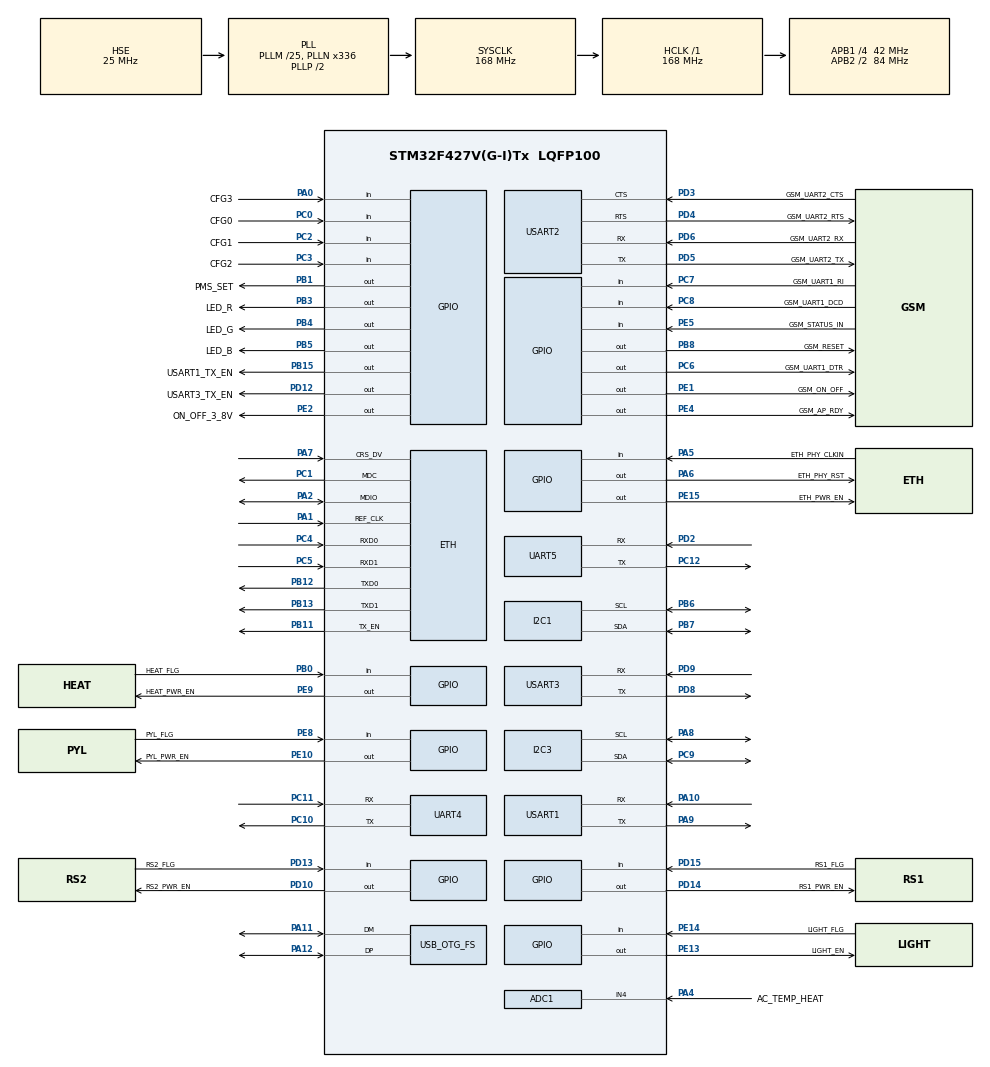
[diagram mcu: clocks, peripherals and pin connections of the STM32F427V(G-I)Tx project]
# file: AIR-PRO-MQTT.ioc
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PD12.GPIO_Label=USART3_TX_EN
PC12.Signal=UART5_TX
PC6.GPIO_Label=GSM_UART1_DTR
VP_RTC_VS_RTC_Activate.Mode=RTC_Enabled
PA6.GPIO_Label=ETH_PHY_RST
PC5.Mode=RMII
PB13.Signal=ETH_TXD1
PD6.GPIO_Label=GSM_UART2_RX
RCC.SYSCLKSource=RCC_SYSCLKSOURCE_PLLCLK
LWIP.NETMASK_ADDRESS=255.255.255.000
PD4.Signal=USART2_RTS
RCC.APB2TimFreq_Value=168000000
PB6.Signal=I2C1_SCL
Dma.ADC1.0.Direction=DMA_PERIPH_TO_MEMORY
PC7.Signal=GPIO_Input
PH1/OSC_OUT.Signal=RCC_OSC_OUT
PB6.Mode=I2C
PC3.Signal=GPIO_Input
PD8.Signal=USART3_TX
PE5.Signal=GPIO_Input
PE1.Signal=GPIO_Output
Dma.ADC1.0.MemDataAlignment=DMA_MDATAALIGN_HALFWORD
ADC1.ScanConvMode=ENABLE
LWIP.MEM_SIZE=8192
PE9.Signal=GPIO_Output
PB1.GPIO_Label=PMS_SET
Dma.ADC1.0.PeriphInc=DMA_PINC_DISABLE
PE4.GPIO_Label=GSM_AP_RDY
PC9.Mode=I2C
PE2.Signal=GPIO_Output
PA8.Signal=I2C3_SCL
VP_FREERTOS_VS_CMSIS_V1.Mode=CMSIS_V1
PD3.Mode=CTS_RTS
PE10.Signal=GPIO_Output
ADC1.SamplingTime-0\#ChannelRegularConversion=ADC_SAMPLETIME_3CYCLES
Mcu.Package=LQFP100
PB1.Signal=GPIO_Output
NVIC.TimeBase=TIM1_UP_TIM10_IRQn
PD12.Signal=GPIO_Output
NVIC.TimeBaseIP=TIM1
PA10.Signal=USART1_RX
PC11.Mode=Asynchronous
RCC.APB2CLKDivider=RCC_HCLK_DIV2
PD4.Mode=CTS_RTS
RCC.APB1TimFreq_Value=84000000
Dma.ADC1.0.FIFOMode=DMA_FIFOMODE_DISABLE
PB13.Mode=RMII
PE10.GPIO_Label=PYL_PWR_EN
PA4.GPIO_Label=AC_TEMP_HEAT
PD15.Signal=GPIO_Input
PC4.Mode=RMII
LWIP.IP_ADDRESS=192.168.254.193
Dma.ADC1.0.Instance=DMA2_Stream0
FREERTOS.Tasks01=defaultTask,0,128,StartDefaultTask,Default,NULL,Dynamic,NULL,NULL
ADC1.Rank-0\#ChannelRegularConversion=1
PD3.Signal=USART2_CTS
PC6.Signal=GPIO_Output
PC2.Signal=GPIO_Input
LWIP.LWIP_DHCP=1
UART5.VirtualMode=Asynchronous
PC0.Signal=GPIO_Input
RCC.APB1CLKDivider=RCC_HCLK_DIV4
UART4.VirtualMode=Asynchronous
PD6.Mode=Asynchronous
PD10.Signal=GPIO_Output
PB8.GPIO_Label=GSM_RESET
PB11.Mode=RMII
PE8.GPIO_Label=PYL_FLG
Dma.ADC1.0.Priority=DMA_PRIORITY_LOW
PA9.Signal=USART1_TX
PD8.Mode=Asynchronous
PE9.GPIO_Label=HEAT_PWR_EN
PB10.Signal=ETH_RX_ER
PA5.Signal=GPIO_Input
PD14.PinState=GPIO_PIN_SET
PC12.Mode=Asynchronous
PE1.GPIO_Label=GSM_ON_OFF
PA1.Mode=RMII
PE14.Signal=GPIO_Input
PE15.Signal=GPIO_Output
PB4.GPIO_Label=LED_G
PB15.GPIO_Label=USART1_TX_EN
PE8.Signal=GPIO_Input
PA0/WKUP.GPIO_Label=CFG3
RCC.RCC_RTC_Clock_SourceVirtual=RCC_RTCCLKSOURCE_LSE
SH.ADCx_IN4.0=ADC1_IN4,IN4
ADC1.DMAContinuousRequests=ENABLE
PA13.Mode=Serial_Wire
LWIP.CMSIS_VERSION-Enabled=1
ADC1.ExternalTrigConv=ADC_SOFTWARE_START
PC7.GPIO_Label=GSM_UART1_RI
PA4.Signal=ADCx_IN4
PB5.Signal=GPIO_Output
ETH.MediaInterface=ETH_MEDIA_INTERFACE_RMII
ADC1.master=1
PE13.GPIO_Label=LIGHT_EN
PA5.GPIO_Label=ETH_PHY_CLKIN
PE5.GPIO_Label=GSM_STATUS_IN
USART1.VirtualMode=VM_ASYNC
PA11.Signal=USB_OTG_FS_DM
ProjectManager.HeapSize=0x200
LWIP.Version=v2.1.2_Cube
NVIC.TIM1_UP_TIM10_IRQn=true\:0\:0\:false\:false\:true\:false\:false\:true
NVIC.PriorityGroup=NVIC_PRIORITYGROUP_4
PC3.GPIO_Label=CFG2
PC15/OSC32_OUT.Signal=RCC_OSC32_OUT
PA8.Mode=I2C
PD2.Signal=UART5_RX
PB0.Signal=GPIO_Input
PC1.Signal=ETH_MDC
PC1.Mode=RMII
Mcu.Family=STM32F4
PA2.GPIO_PuPd=GPIO_PULLUP
USB_DEVICE.CLASS_NAME_FS=CDC
RCC.CortexFreq_Value=168000000
ADC1.ContinuousConvMode=ENABLE
PC10.Signal=UART4_TX
VP_IWDG_VS_IWDG.Mode=IWDG_Activate
PC0.GPIO_Label=CFG0
PA11.Mode=Device_Only
PA0/WKUP.Signal=GPIO_Input
PB0.GPIO_Label=HEAT_FLG
PC14/OSC32_IN.Mode=LSE-External-Oscillator
USB_DEVICE.VirtualMode-CDC_FS=Cdc
PB11.Signal=ETH_TX_EN
PB15.Signal=GPIO_Output
PD9.Mode=Asynchronous
ProjectManager.StackSize=0x400
PD13.Signal=GPIO_Input
PA12.Signal=USB_OTG_FS_DP
LWIP.LWIP_RAW=1
LWIP.DEFAULT_RAW_RECVMBOX_SIZE=6
RCC.RCC_RTC_Clock_Source=RCC_RTCCLKSOURCE_LSE
FREERTOS.configUSE_STATS_FORMATTING_FUNCTIONS=1
PH0/OSC_IN.Mode=HSE-External-Oscillator
RCC.HCLKFreq_Value=168000000
NVIC.DMA2_Stream0_IRQn=true\:8\:0\:true\:false\:true\:true\:false\:true
RCC.AHBFreq_Value=168000000
PD5.Mode=Asynchronous
NVIC.ETH_IRQn=true\:6\:0\:true\:false\:true\:false\:false\:true
ADC1.Channel-0\#ChannelRegularConversion=ADC_CHANNEL_4
RCC.HSE_VALUE=25000000
PE13.Signal=GPIO_Output
PA14.Mode=Serial_Wire
VP_SYS_VS_tim1.Mode=TIM1
PB7.Signal=I2C1_SDA
PH1/OSC_OUT.Mode=HSE-External-Oscillator
PE4.Signal=GPIO_Output
FREERTOS.configTOTAL_HEAP_SIZE=32768
PD13.GPIO_Label=RS2_FLG
PA6.Signal=GPIO_Output
PB12.Mode=RMII
USART2.VirtualMode=VM_ASYNC
PC14/OSC32_IN.Signal=RCC_OSC32_IN
PD5.GPIO_Label=GSM_UART2_TX
NVIC.OTG_FS_IRQn=true\:7\:0\:true\:false\:true\:false\:false\:true
USB_OTG_FS.VirtualMode=Device_Only
PB5.GPIO_Label=LED_B
PC5.Signal=ETH_RXD1
PD3.GPIO_Label=GSM_UART2_CTS
PD6.Signal=USART2_RX
Dma.Request0=ADC1
PE2.GPIO_Label=ON_OFF_3_8V
PC2.GPIO_Label=CFG1
PB4.Signal=GPIO_Output
PB3.GPIO_Label=LED_R
PD15.GPIO_Label=RS1_FLG
PA7.Mode=RMII
PA10.Mode=Asynchronous
PE2.PinState=GPIO_PIN_SET
USB_DEVICE.VirtualModeFS=Cdc_FS
PC11.Signal=UART4_RX
PC8.Signal=GPIO_Input
PC4.Signal=ETH_RXD0
PC10.Mode=Asynchronous
PE14.GPIO_Label=LIGHT_FLG
PD9.Signal=USART3_RX
PD5.Signal=USART2_TX
ETH.PhyAddress=0
VP_LWIP_VS_Enabled.Mode=Enabled
LWIP.GATEWAY_ADDRESS=192.168.254.254
LWIP.LWIP_DNS=1
PC8.GPIO_Label=GSM_UART1_DCD
PA13.Signal=SYS_JTMS-SWDIO
Dma.ADC1.0.PeriphDataAlignment=DMA_PDATAALIGN_HALFWORD
PA9.Mode=Asynchronous
PE15.GPIO_Label=ETH_PWR_EN
ETH.PHY_Name_RMII=LAN8742A_PHY_ADDRESS
ProjectManager.TargetToolchain=STM32CubeIDE
FREERTOS.configUSE_TRACE_FACILITY=1
Dma.ADC1.0.Mode=DMA_NORMAL
VP_USB_DEVICE_VS_USB_DEVICE_CDC_FS.Mode=CDC_FS
PD10.GPIO_Label=RS2_PWR_EN
PA1.Signal=ETH_REF_CLK
PD2.Mode=Asynchronous
board=custom
RCC.VCOOutputFreq_Value=336000000
PH0/OSC_IN.Signal=RCC_OSC_IN
RCC.APB2Freq_Value=84000000
VP_TIM2_VS_ClockSourceINT.Mode=Internal
PD4.GPIO_Label=GSM_UART2_RTS
PD14.GPIO_Label=RS1_PWR_EN
Mcu.Name=STM32F427V(G-I)Tx
PA2.Signal=ETH_MDIO
PD14.Signal=GPIO_Output
RCC.48MHZClocksFreq_Value=48000000
PB3.Signal=GPIO_Output
RCC.SYSCLKFreq_VALUE=168000000
LWIP.LWIP_NETIF_STATUS_CALLBACK=1
PA12.Mode=Device_Only
USART3.VirtualMode=VM_ASYNC
PC15/OSC32_OUT.Mode=LSE-External-Oscillator
PB7.Mode=I2C
PA14.Signal=SYS_JTCK-SWCLK
Dma.ADC1.0.MemInc=DMA_MINC_ENABLE
PD10.PinState=GPIO_PIN_SET
RCC.HSI_VALUE=16000000
RCC.PLLQ=7
ADC1.NbrOfConversionFlag=1
RCC.PLLM=25
RCC.PLLN=336
IWDG.Prescaler=IWDG_PRESCALER_256
PA2.Mode=RMII
PB8.Signal=GPIO_Output
PC9.Signal=I2C3_SDA
RCC.APB1Freq_Value=42000000
ADC1.ClockPrescaler=ADC_CLOCK_SYNC_PCLK_DIV8
PB12.Signal=ETH_TXD0
PA7.Signal=ETH_CRS_DV

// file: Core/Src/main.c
/* USER CODE BEGIN Header */
/**
 ******************************************************************************
 * @file           : main.c
 * @brief          : Main program body
 ******************************************************************************
 * @attention
 *
 * <h2><center>&copy; Copyright (c) 2020 STMicroelectronics.
 * All rights reserved.</center></h2>
 *
 * This software component is licensed by ST under Ultimate Liberty license
 * SLA0044, the "License"; You may not use this file except in compliance with
 * the License. You may obtain a copy of the License at:
 *                             www.st.com/SLA0044
 *
 ******************************************************************************
 */
/* USER CODE END Header */
#include "main.h"
#include "cmsis_os.h"
#include "lwip.h"
#include "usb_device.h"

/* USER CODE BEGIN Includes */
//#include "UMain.h"
#include "math.h"

/* USER CODE END Includes */

ADC_HandleTypeDef hadc1;
DMA_HandleTypeDef hdma_adc1;

I2C_HandleTypeDef hi2c1;
I2C_HandleTypeDef hi2c3;

IWDG_HandleTypeDef hiwdg;

RTC_HandleTypeDef hrtc;

TIM_HandleTypeDef htim2;

UART_HandleTypeDef huart4;
UART_HandleTypeDef huart5;
UART_HandleTypeDef huart1;
UART_HandleTypeDef huart2;
UART_HandleTypeDef huart3;

osThreadId defaultTaskHandle;
/* USER CODE BEGIN PV */
#if 0
/* USER CODE END PV */

void SystemClock_Config(void);
static void MX_IWDG_Init(void);
static void MX_GPIO_Init(void);
static void MX_DMA_Init(void);
static void MX_I2C1_Init(void);
static void MX_I2C3_Init(void);
static void MX_UART5_Init(void);
static void MX_USART1_UART_Init(void);
static void MX_USART2_UART_Init(void);
static void MX_USART3_UART_Init(void);
static void MX_ADC1_Init(void);
static void MX_TIM2_Init(void);
static void MX_UART4_Init(void);
static void MX_RTC_Init(void);
void StartDefaultTask(void const * argument);

/* USER CODE BEGIN PFP */
#endif
void SystemClock_Config(void);
static void MX_GPIO_Init(void);
static void MX_DMA_Init(void);
static void MX_I2C3_Init(void);
static void MX_ADC1_Init(void);

/* USER CODE END PFP */

/* USER CODE BEGIN 0 */

void callResCubeMX() {
	MX_GPIO_Init();

	//WatchDog
	//MX_IWDG_Init();

	//MX_I2C1_Init();
	MX_DMA_Init();
	MX_I2C3_Init();
	//MX_TIM3_Init();
	MX_ADC1_Init();
	//MX_TIM2_Init();

	//MX_USART1_UART_Init();
	//MX_USART2_UART_Init();
	//MX_USART3_UART_Init();
	//MX_UART4_Init();
	//MX_UART5_Init();

}

extern void uMainCont();

int PeriodElapsedCnt;
int CaptureCnt;

/* USER CODE END 0 */

int main(void)
{

  /* MCU Configuration--------------------------------------------------------*/

  /* Reset of all peripherals, Initializes the Flash interface and the Systick. */
  HAL_Init();

  /* Configure the system clock */
  SystemClock_Config();

  /* USER CODE BEGIN SysInit */

//------------------------------------------------------------------------------
// przeskok do uMain
//------------------------------------------------------------------------------
	uMainCont();
#if 0
  /* USER CODE END SysInit */

  /* Initialize all configured peripherals */
  MX_IWDG_Init();
  MX_GPIO_Init();
  MX_DMA_Init();
  MX_I2C1_Init();
  MX_I2C3_Init();
  MX_UART5_Init();
  MX_USART1_UART_Init();
  MX_USART2_UART_Init();
  MX_USART3_UART_Init();
  MX_ADC1_Init();
  MX_TIM2_Init();
  MX_UART4_Init();
  MX_RTC_Init();

  /* Create the thread(s) */
  /* definition and creation of defaultTask */
  osThreadDef(defaultTask, StartDefaultTask, osPriorityNormal, 0, 128);
  defaultTaskHandle = osThreadCreate(osThread(defaultTask), NULL);

  /* Start scheduler */
  osKernelStart();

  /* We should never get here as control is now taken by the scheduler */
  /* Infinite loop */
	while (1) {

    /* USER CODE BEGIN 3 */
	}
#endif

/* USER CODE END 3 */
}

void SystemClock_Config(void)
{
  RCC_OscInitTypeDef RCC_OscInitStruct = {0};
  RCC_ClkInitTypeDef RCC_ClkInitStruct = {0};
  RCC_PeriphCLKInitTypeDef PeriphClkInitStruct = {0};

  /** Configure the main internal regulator output voltage
  */
  __HAL_RCC_PWR_CLK_ENABLE();
  __HAL_PWR_VOLTAGESCALING_CONFIG(PWR_REGULATOR_VOLTAGE_SCALE1);
  /** Initializes the RCC Oscillators according to the specified parameters
  * in the RCC_OscInitTypeDef structure.
  */
  RCC_OscInitStruct.OscillatorType = RCC_OSCILLATORTYPE_LSI|RCC_OSCILLATORTYPE_HSE
                              |RCC_OSCILLATORTYPE_LSE;
  RCC_OscInitStruct.HSEState = RCC_HSE_ON;
  RCC_OscInitStruct.LSEState = RCC_LSE_ON;
  RCC_OscInitStruct.LSIState = RCC_LSI_ON;
  RCC_OscInitStruct.PLL.PLLState = RCC_PLL_ON;
  RCC_OscInitStruct.PLL.PLLSource = RCC_PLLSOURCE_HSE;
  RCC_OscInitStruct.PLL.PLLM = 25;
  RCC_OscInitStruct.PLL.PLLN = 336;
  RCC_OscInitStruct.PLL.PLLP = RCC_PLLP_DIV2;
  RCC_OscInitStruct.PLL.PLLQ = 7;
  if (HAL_RCC_OscConfig(&RCC_OscInitStruct) != HAL_OK)
  {
    Error_Handler();
  }
  /** Initializes the CPU, AHB and APB buses clocks
  */
  RCC_ClkInitStruct.ClockType = RCC_CLOCKTYPE_HCLK|RCC_CLOCKTYPE_SYSCLK
                              |RCC_CLOCKTYPE_PCLK1|RCC_CLOCKTYPE_PCLK2;
  RCC_ClkInitStruct.SYSCLKSource = RCC_SYSCLKSOURCE_PLLCLK;
  RCC_ClkInitStruct.AHBCLKDivider = RCC_SYSCLK_DIV1;
  RCC_ClkInitStruct.APB1CLKDivider = RCC_HCLK_DIV4;
  RCC_ClkInitStruct.APB2CLKDivider = RCC_HCLK_DIV2;

  if (HAL_RCC_ClockConfig(&RCC_ClkInitStruct, FLASH_LATENCY_5) != HAL_OK)
  {
    Error_Handler();
  }
  PeriphClkInitStruct.PeriphClockSelection = RCC_PERIPHCLK_RTC;
  PeriphClkInitStruct.RTCClockSelection = RCC_RTCCLKSOURCE_LSE;
  if (HAL_RCCEx_PeriphCLKConfig(&PeriphClkInitStruct) != HAL_OK)
  {
    Error_Handler();
  }
}

static void MX_ADC1_Init(void)
{

  ADC_ChannelConfTypeDef sConfig = {0};

  /** Configure the global features of the ADC (Clock, Resolution, Data Alignment and number of conversion)
  */
  hadc1.Instance = ADC1;
  hadc1.Init.ClockPrescaler = ADC_CLOCK_SYNC_PCLK_DIV8;
  hadc1.Init.Resolution = ADC_RESOLUTION_12B;
  hadc1.Init.ScanConvMode = ENABLE;
  hadc1.Init.ContinuousConvMode = ENABLE;
  hadc1.Init.DiscontinuousConvMode = DISABLE;
  hadc1.Init.ExternalTrigConvEdge = ADC_EXTERNALTRIGCONVEDGE_NONE;
  hadc1.Init.ExternalTrigConv = ADC_SOFTWARE_START;
  hadc1.Init.DataAlign = ADC_DATAALIGN_RIGHT;
  hadc1.Init.NbrOfConversion = 1;
  hadc1.Init.DMAContinuousRequests = ENABLE;
  hadc1.Init.EOCSelection = ADC_EOC_SINGLE_CONV;
  if (HAL_ADC_Init(&hadc1) != HAL_OK)
  {
    Error_Handler();
  }
  /** Configure for the selected ADC regular channel its corresponding rank in the sequencer and its sample time.
  */
  sConfig.Channel = ADC_CHANNEL_4;
  sConfig.Rank = 1;
  sConfig.SamplingTime = ADC_SAMPLETIME_3CYCLES;
  if (HAL_ADC_ConfigChannel(&hadc1, &sConfig) != HAL_OK)
  {
    Error_Handler();
  }
  /* USER CODE BEGIN ADC1_Init 2 */
#if 0
  /* USER CODE END ADC1_Init 2 */

}

static void MX_I2C1_Init(void)
{

  hi2c1.Instance = I2C1;
  hi2c1.Init.ClockSpeed = 100000;
  hi2c1.Init.DutyCycle = I2C_DUTYCYCLE_2;
  hi2c1.Init.OwnAddress1 = 0;
  hi2c1.Init.AddressingMode = I2C_ADDRESSINGMODE_7BIT;
  hi2c1.Init.DualAddressMode = I2C_DUALADDRESS_DISABLE;
  hi2c1.Init.OwnAddress2 = 0;
  hi2c1.Init.GeneralCallMode = I2C_GENERALCALL_DISABLE;
  hi2c1.Init.NoStretchMode = I2C_NOSTRETCH_DISABLE;
  if (HAL_I2C_Init(&hi2c1) != HAL_OK)
  {
    Error_Handler();
  }
  /** Configure Analogue filter
  */
  if (HAL_I2CEx_ConfigAnalogFilter(&hi2c1, I2C_ANALOGFILTER_ENABLE) != HAL_OK)
  {
    Error_Handler();
  }
  /** Configure Digital filter
  */
  if (HAL_I2CEx_ConfigDigitalFilter(&hi2c1, 0) != HAL_OK)
  {
    Error_Handler();
  }
  /* USER CODE BEGIN I2C1_Init 2 */
#endif
  /* USER CODE END I2C1_Init 2 */

}

static void MX_I2C3_Init(void)
{

  hi2c3.Instance = I2C3;
  hi2c3.Init.ClockSpeed = 100000;
  hi2c3.Init.DutyCycle = I2C_DUTYCYCLE_2;
  hi2c3.Init.OwnAddress1 = 0;
  hi2c3.Init.AddressingMode = I2C_ADDRESSINGMODE_7BIT;
  hi2c3.Init.DualAddressMode = I2C_DUALADDRESS_DISABLE;
  hi2c3.Init.OwnAddress2 = 0;
  hi2c3.Init.GeneralCallMode = I2C_GENERALCALL_DISABLE;
  hi2c3.Init.NoStretchMode = I2C_NOSTRETCH_DISABLE;
  if (HAL_I2C_Init(&hi2c3) != HAL_OK)
  {
    Error_Handler();
  }
  /** Configure Analogue filter
  */
  if (HAL_I2CEx_ConfigAnalogFilter(&hi2c3, I2C_ANALOGFILTER_ENABLE) != HAL_OK)
  {
    Error_Handler();
  }
  /** Configure Digital filter
  */
  if (HAL_I2CEx_ConfigDigitalFilter(&hi2c3, 0) != HAL_OK)
  {
    Error_Handler();
  }
  /* USER CODE BEGIN I2C3_Init 2 */
#if 0
  /* USER CODE END I2C3_Init 2 */
}

static void MX_IWDG_Init(void)
{

  hiwdg.Instance = IWDG;
  hiwdg.Init.Prescaler = IWDG_PRESCALER_256;
  hiwdg.Init.Reload = 4095;
  if (HAL_IWDG_Init(&hiwdg) != HAL_OK)
  {
    Error_Handler();
  }

}

static void MX_RTC_Init(void)
{

  /** Initialize RTC Only
  */
  hrtc.Instance = RTC;
  hrtc.Init.HourFormat = RTC_HOURFORMAT_24;
  hrtc.Init.AsynchPrediv = 127;
  hrtc.Init.SynchPrediv = 255;
  hrtc.Init.OutPut = RTC_OUTPUT_DISABLE;
  hrtc.Init.OutPutPolarity = RTC_OUTPUT_POLARITY_HIGH;
  hrtc.Init.OutPutType = RTC_OUTPUT_TYPE_OPENDRAIN;
  if (HAL_RTC_Init(&hrtc) != HAL_OK)
  {
    Error_Handler();
  }

}

static void MX_TIM2_Init(void)
{

  TIM_ClockConfigTypeDef sClockSourceConfig = {0};
  TIM_MasterConfigTypeDef sMasterConfig = {0};

  htim2.Instance = TIM2;
  htim2.Init.Prescaler = 0;
  htim2.Init.CounterMode = TIM_COUNTERMODE_UP;
  htim2.Init.Period = 4294967295;
  htim2.Init.ClockDivision = TIM_CLOCKDIVISION_DIV1;
  htim2.Init.AutoReloadPreload = TIM_AUTORELOAD_PRELOAD_DISABLE;
  if (HAL_TIM_Base_Init(&htim2) != HAL_OK)
  {
    Error_Handler();
  }
  sClockSourceConfig.ClockSource = TIM_CLOCKSOURCE_INTERNAL;
  if (HAL_TIM_ConfigClockSource(&htim2, &sClockSourceConfig) != HAL_OK)
  {
    Error_Handler();
  }
  sMasterConfig.MasterOutputTrigger = TIM_TRGO_RESET;
  sMasterConfig.MasterSlaveMode = TIM_MASTERSLAVEMODE_DISABLE;
  if (HAL_TIMEx_MasterConfigSynchronization(&htim2, &sMasterConfig) != HAL_OK)
  {
    Error_Handler();
  }

}

static void MX_UART4_Init(void)
{

  huart4.Instance = UART4;
  huart4.Init.BaudRate = 115200;
  huart4.Init.WordLength = UART_WORDLENGTH_8B;
  huart4.Init.StopBits = UART_STOPBITS_1;
  huart4.Init.Parity = UART_PARITY_NONE;
  huart4.Init.Mode = UART_MODE_TX_RX;
  huart4.Init.HwFlowCtl = UART_HWCONTROL_NONE;
  huart4.Init.OverSampling = UART_OVERSAMPLING_16;
  if (HAL_UART_Init(&huart4) != HAL_OK)
  {
    Error_Handler();
  }

}

static void MX_UART5_Init(void)
{

  huart5.Instance = UART5;
  huart5.Init.BaudRate = 115200;
  huart5.Init.WordLength = UART_WORDLENGTH_8B;
  huart5.Init.StopBits = UART_STOPBITS_1;
  huart5.Init.Parity = UART_PARITY_NONE;
  huart5.Init.Mode = UART_MODE_TX_RX;
  huart5.Init.HwFlowCtl = UART_HWCONTROL_NONE;
  huart5.Init.OverSampling = UART_OVERSAMPLING_16;
  if (HAL_UART_Init(&huart5) != HAL_OK)
  {
    Error_Handler();
  }

}

static void MX_USART1_UART_Init(void)
{

  huart1.Instance = USART1;
  huart1.Init.BaudRate = 115200;
  huart1.Init.WordLength = UART_WORDLENGTH_8B;
  huart1.Init.StopBits = UART_STOPBITS_1;
  huart1.Init.Parity = UART_PARITY_NONE;
  huart1.Init.Mode = UART_MODE_TX_RX;
  huart1.Init.HwFlowCtl = UART_HWCONTROL_NONE;
  huart1.Init.OverSampling = UART_OVERSAMPLING_16;
  if (HAL_UART_Init(&huart1) != HAL_OK)
  {
    Error_Handler();
  }

}

static void MX_USART2_UART_Init(void)
{

  huart2.Instance = USART2;
  huart2.Init.BaudRate = 115200;
  huart2.Init.WordLength = UART_WORDLENGTH_8B;
  huart2.Init.StopBits = UART_STOPBITS_1;
  huart2.Init.Parity = UART_PARITY_NONE;
  huart2.Init.Mode = UART_MODE_TX_RX;
  huart2.Init.HwFlowCtl = UART_HWCONTROL_RTS_CTS;
  huart2.Init.OverSampling = UART_OVERSAMPLING_16;
  if (HAL_UART_Init(&huart2) != HAL_OK)
  {
    Error_Handler();
  }

}

static void MX_USART3_UART_Init(void)
{

  huart3.Instance = USART3;
  huart3.Init.BaudRate = 115200;
  huart3.Init.WordLength = UART_WORDLENGTH_8B;
  huart3.Init.StopBits = UART_STOPBITS_1;
  huart3.Init.Parity = UART_PARITY_NONE;
  huart3.Init.Mode = UART_MODE_TX_RX;
  huart3.Init.HwFlowCtl = UART_HWCONTROL_NONE;
  huart3.Init.OverSampling = UART_OVERSAMPLING_16;
  if (HAL_UART_Init(&huart3) != HAL_OK)
  {
    Error_Handler();
  }
  /* USER CODE BEGIN USART3_Init 2 */
#endif

  /* USER CODE END USART3_Init 2 */

}

static void MX_DMA_Init(void)
{

  /* DMA controller clock enable */
  __HAL_RCC_DMA2_CLK_ENABLE();

  /* DMA interrupt init */
  /* DMA2_Stream0_IRQn interrupt configuration */
  HAL_NVIC_SetPriority(DMA2_Stream0_IRQn, 8, 0);
  HAL_NVIC_EnableIRQ(DMA2_Stream0_IRQn);

}

static void MX_GPIO_Init(void)
{
  GPIO_InitTypeDef GPIO_InitStruct = {0};

  /* GPIO Ports Clock Enable */
  __HAL_RCC_GPIOE_CLK_ENABLE();
  __HAL_RCC_GPIOC_CLK_ENABLE();
  __HAL_RCC_GPIOH_CLK_ENABLE();
  __HAL_RCC_GPIOA_CLK_ENABLE();
  __HAL_RCC_GPIOB_CLK_ENABLE();
  __HAL_RCC_GPIOD_CLK_ENABLE();

  /*Configure GPIO pin Output Level */
  HAL_GPIO_WritePin(ON_OFF_3_8V_GPIO_Port, ON_OFF_3_8V_Pin, GPIO_PIN_SET);

  /*Configure GPIO pin Output Level */
  HAL_GPIO_WritePin(GPIOE, GSM_AP_RDY_Pin|HEAT_PWR_EN_Pin|PYL_PWR_EN_Pin|LIGHT_EN_Pin
                          |ETH_PWR_EN_Pin|GSM_ON_OFF_Pin, GPIO_PIN_RESET);

  /*Configure GPIO pin Output Level */
  HAL_GPIO_WritePin(ETH_PHY_RST_GPIO_Port, ETH_PHY_RST_Pin, GPIO_PIN_RESET);

  /*Configure GPIO pin Output Level */
  HAL_GPIO_WritePin(GPIOB, PMS_SET_Pin|USART1_TX_EN_Pin|LED_R_Pin|LED_G_Pin
                          |LED_B_Pin|GSM_RESET_Pin, GPIO_PIN_RESET);

  /*Configure GPIO pin Output Level */
  HAL_GPIO_WritePin(GPIOD, RS2_PWR_EN_Pin|RS1_PWR_EN_Pin, GPIO_PIN_SET);

  /*Configure GPIO pin Output Level */
  HAL_GPIO_WritePin(USART3_TX_EN_GPIO_Port, USART3_TX_EN_Pin, GPIO_PIN_RESET);

  /*Configure GPIO pin Output Level */
  HAL_GPIO_WritePin(GSM_UART1_DTR_GPIO_Port, GSM_UART1_DTR_Pin, GPIO_PIN_RESET);

  /*Configure GPIO pins : ON_OFF_3_8V_Pin GSM_AP_RDY_Pin HEAT_PWR_EN_Pin PYL_PWR_EN_Pin
                           LIGHT_EN_Pin ETH_PWR_EN_Pin GSM_ON_OFF_Pin */
  GPIO_InitStruct.Pin = ON_OFF_3_8V_Pin|GSM_AP_RDY_Pin|HEAT_PWR_EN_Pin|PYL_PWR_EN_Pin
                          |LIGHT_EN_Pin|ETH_PWR_EN_Pin|GSM_ON_OFF_Pin;
  GPIO_InitStruct.Mode = GPIO_MODE_OUTPUT_PP;
  GPIO_InitStruct.Pull = GPIO_NOPULL;
  GPIO_InitStruct.Speed = GPIO_SPEED_FREQ_LOW;
  HAL_GPIO_Init(GPIOE, &GPIO_InitStruct);

  /*Configure GPIO pins : GSM_STATUS_IN_Pin PYL_FLG_Pin LIGHT_FLG_Pin */
  GPIO_InitStruct.Pin = GSM_STATUS_IN_Pin|PYL_FLG_Pin|LIGHT_FLG_Pin;
  GPIO_InitStruct.Mode = GPIO_MODE_INPUT;
  GPIO_InitStruct.Pull = GPIO_NOPULL;
  HAL_GPIO_Init(GPIOE, &GPIO_InitStruct);

  /*Configure GPIO pins : CFG0_Pin CFG1_Pin CFG2_Pin GSM_UART1_RI_Pin
                           GSM_UART1_DCD_Pin */
  GPIO_InitStruct.Pin = CFG0_Pin|CFG1_Pin|CFG2_Pin|GSM_UART1_RI_Pin
                          |GSM_UART1_DCD_Pin;
  GPIO_InitStruct.Mode = GPIO_MODE_INPUT;
  GPIO_InitStruct.Pull = GPIO_NOPULL;
  HAL_GPIO_Init(GPIOC, &GPIO_InitStruct);

  /*Configure GPIO pins : CFG3_Pin ETH_PHY_CLKIN_Pin */
  GPIO_InitStruct.Pin = CFG3_Pin|ETH_PHY_CLKIN_Pin;
  GPIO_InitStruct.Mode = GPIO_MODE_INPUT;
  GPIO_InitStruct.Pull = GPIO_NOPULL;
  HAL_GPIO_Init(GPIOA, &GPIO_InitStruct);

  /*Configure GPIO pin : ETH_PHY_RST_Pin */
  GPIO_InitStruct.Pin = ETH_PHY_RST_Pin;
  GPIO_InitStruct.Mode = GPIO_MODE_OUTPUT_PP;
  GPIO_InitStruct.Pull = GPIO_NOPULL;
  GPIO_InitStruct.Speed = GPIO_SPEED_FREQ_LOW;
  HAL_GPIO_Init(ETH_PHY_RST_GPIO_Port, &GPIO_InitStruct);

  /*Configure GPIO pin : HEAT_FLG_Pin */
  GPIO_InitStruct.Pin = HEAT_FLG_Pin;
  GPIO_InitStruct.Mode = GPIO_MODE_INPUT;
  GPIO_InitStruct.Pull = GPIO_NOPULL;
  HAL_GPIO_Init(HEAT_FLG_GPIO_Port, &GPIO_InitStruct);

  /*Configure GPIO pins : PMS_SET_Pin USART1_TX_EN_Pin LED_R_Pin LED_G_Pin
                           LED_B_Pin GSM_RESET_Pin */
  GPIO_InitStruct.Pin = PMS_SET_Pin|USART1_TX_EN_Pin|LED_R_Pin|LED_G_Pin
                          |LED_B_Pin|GSM_RESET_Pin;
  GPIO_InitStruct.Mode = GPIO_MODE_OUTPUT_PP;
  GPIO_InitStruct.Pull = GPIO_NOPULL;
  GPIO_InitStruct.Speed = GPIO_SPEED_FREQ_LOW;
  HAL_GPIO_Init(GPIOB, &GPIO_InitStruct);

  /*Configure GPIO pins : RS2_PWR_EN_Pin USART3_TX_EN_Pin RS1_PWR_EN_Pin */
  GPIO_InitStruct.Pin = RS2_PWR_EN_Pin|USART3_TX_EN_Pin|RS1_PWR_EN_Pin;
  GPIO_InitStruct.Mode = GPIO_MODE_OUTPUT_PP;
  GPIO_InitStruct.Pull = GPIO_NOPULL;
  GPIO_InitStruct.Speed = GPIO_SPEED_FREQ_LOW;
  HAL_GPIO_Init(GPIOD, &GPIO_InitStruct);

  /*Configure GPIO pins : RS2_FLG_Pin RS1_FLG_Pin */
  GPIO_InitStruct.Pin = RS2_FLG_Pin|RS1_FLG_Pin;
  GPIO_InitStruct.Mode = GPIO_MODE_INPUT;
  GPIO_InitStruct.Pull = GPIO_NOPULL;
  HAL_GPIO_Init(GPIOD, &GPIO_InitStruct);

  /*Configure GPIO pin : GSM_UART1_DTR_Pin */
  GPIO_InitStruct.Pin = GSM_UART1_DTR_Pin;
  GPIO_InitStruct.Mode = GPIO_MODE_OUTPUT_PP;
  GPIO_InitStruct.Pull = GPIO_NOPULL;
  GPIO_InitStruct.Speed = GPIO_SPEED_FREQ_LOW;
  HAL_GPIO_Init(GSM_UART1_DTR_GPIO_Port, &GPIO_InitStruct);

}

void StartDefaultTask(void const * argument)
{
  /* init code for LWIP */
  MX_LWIP_Init();

  /* init code for USB_DEVICE */
  MX_USB_DEVICE_Init();
	for (;;) {
		osDelay(1);
	}
}

void HAL_TIM_PeriodElapsedCallback(TIM_HandleTypeDef *htim)
{
  if (htim->Instance == TIM1) {
    HAL_IncTick();
  }
  /* USER CODE BEGIN Callback 1 */
	if (htim->Instance == TIM3) {
		PeriodElapsedCnt++;
	}
  /* USER CODE END Callback 1 */
}

void Error_Handler(void)
{
	while (1) {
	}
}

/************************ (C) COPYRIGHT STMicroelectronics *****END OF FILE****/
